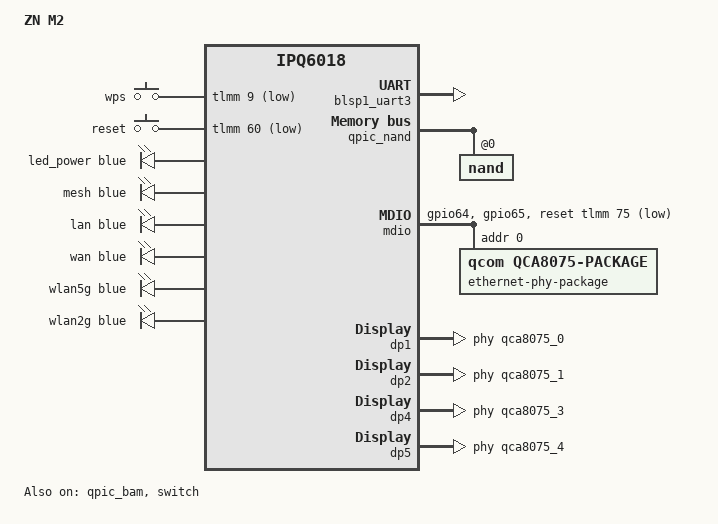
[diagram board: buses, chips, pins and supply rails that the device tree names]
// SPDX-License-Identifier: GPL-2.0-or-later OR MIT

/dts-v1/;

#include "ipq6018.dtsi"
#include "ipq6018-ess.dtsi"
#include <dt-bindings/gpio/gpio.h>
#include <dt-bindings/input/input.h>
#include <dt-bindings/leds/common.h>

/ {
	model = "ZN M2";
	compatible = "zn,m2", "qcom,ipq6018";

	aliases {
		serial0 = &blsp1_uart3;
		led-boot = &led_power;
		led-failsafe = &led_power;
		led-running = &led_power;
		ethernet0 = &dp1;
		ethernet1 = &dp2;
		ethernet2 = &dp4;
		ethernet3 = &dp5;
		label-mac-device = &dp1;
	};

	chosen {
		stdout-path = "serial0:115200n8";
		bootargs-append = " root=/dev/ubiblock0_1";
	};

	keys {
		compatible = "gpio-keys";

		wps {
			label = "wps";
			gpios = <&tlmm 9 GPIO_ACTIVE_LOW>;
			linux,code = <KEY_WPS_BUTTON>;
		};

		reset {
			label = "reset";
			gpios = <&tlmm 60 GPIO_ACTIVE_LOW>;
			linux,code = <KEY_RESTART>;
		};
	};

	leds {
		compatible = "gpio-leds";

		led_power: power {
			color = <LED_COLOR_ID_BLUE>;
			function = LED_FUNCTION_POWER;
			gpio = <&tlmm 58 GPIO_ACTIVE_HIGH>;
		};

		mesh {
			color = <LED_COLOR_ID_BLUE>;
			function = LED_FUNCTION_STATUS;
			gpio = <&tlmm 73 GPIO_ACTIVE_HIGH>;
		};

		lan {
			color = <LED_COLOR_ID_BLUE>;
			function = LED_FUNCTION_LAN;
			gpio = <&tlmm 74 GPIO_ACTIVE_HIGH>;
		};

		wan {
			color = <LED_COLOR_ID_BLUE>;
			function = LED_FUNCTION_WAN;
			gpio = <&tlmm 37 GPIO_ACTIVE_HIGH>;
		};

		wlan5g {
			color = <LED_COLOR_ID_BLUE>;
			function = LED_FUNCTION_WLAN_5GHZ;
			gpio = <&tlmm 35 GPIO_ACTIVE_HIGH>;
		};

		wlan2g {
			color = <LED_COLOR_ID_BLUE>;
			function = LED_FUNCTION_WLAN_2GHZ;
			gpio = <&tlmm 70 GPIO_ACTIVE_HIGH>;
		};
	};
};

&tlmm {
	mdio_pins: mdio-state {
		mdc-pins {
			pins = "gpio64";
			function = "mdc";
			drive-strength = <8>;
			bias-pull-up;
		};

		mdio-pins {
			pins = "gpio65";
			function = "mdio";
			drive-strength = <8>;
			bias-pull-up;
		};
	};
};

&blsp1_uart3 {
	pinctrl-0 = <&serial_3_pins>;
	pinctrl-names = "default";
	status = "okay";
};

&qpic_bam {
	status = "okay";
};

&rpm {
	status = "disabled";
};

&qpic_nand {
	status = "okay";

	nand@0 {
		reg = <0>;

		nand-ecc-strength = <4>;
		nand-ecc-step-size = <512>;
		nand-bus-width = <8>;

		partitions {
			compatible = "qcom,smem-part";
		};
	};
};

&mdio {
	status = "okay";
	pinctrl-0 = <&mdio_pins>;
	pinctrl-names = "default";
	reset-gpios = <&tlmm 75 GPIO_ACTIVE_LOW>;
	reset-delay-us = <10000>;
	reset-post-delay-us = <50000>;

	ethernet-phy-package@0 {
		#address-cells = <1>;
		#size-cells = <0>;
		compatible = "qcom,qca8075-package";
		reg = <0>;

		qca8075_0: ethernet-phy@0 {
			compatible = "ethernet-phy-ieee802.3-c22";
			reg = <0>;
		};

		qca8075_1: ethernet-phy@1 {
			compatible = "ethernet-phy-ieee802.3-c22";
			reg = <1>;
		};

		qca8075_3: ethernet-phy@3 {
			compatible = "ethernet-phy-ieee802.3-c22";
			reg = <3>;
		};

		qca8075_4: ethernet-phy@4 {
			compatible = "ethernet-phy-ieee802.3-c22";
			reg = <4>;
		};
	};
};

&switch {
	status = "okay";
	switch_lan_bmp = <(ESS_PORT1 | ESS_PORT2 | ESS_PORT4)>; /* lan port bitmap */
	switch_wan_bmp = <ESS_PORT5>; /* wan port bitmap */
	switch_mac_mode = <MAC_MODE_PSGMII>; /* mac mode for uniphy instance0*/

	qcom,port_phyinfo {
		port@1 {
			port_id = <1>;
			phy_address = <0>;
		};
		port@2 {
			port_id = <2>;
			phy_address = <1>;
		};
		port@4 {
			port_id = <4>;
			phy_address = <3>;
		};
		port@5 {
			port_id = <5>;
			phy_address = <4>;
		};
	};
};

&edma {
	status = "okay";
};

&dp1 {
	status = "okay";
	phy-handle = <&qca8075_0>;
	label = "lan3";
};

&dp2 {
	status = "okay";
	phy-handle = <&qca8075_1>;
	label = "lan2";
};

&dp4 {
	status = "okay";
	phy-handle = <&qca8075_3>;
	label = "lan1";
};

&dp5 {
	status = "okay";
	phy-handle = <&qca8075_4>;
	label = "wan";
};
